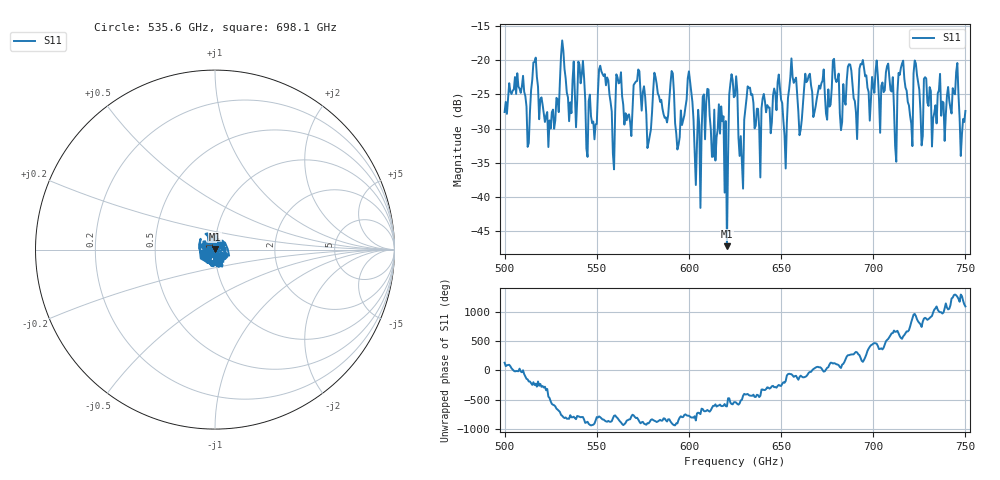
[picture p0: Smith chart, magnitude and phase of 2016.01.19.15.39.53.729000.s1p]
!Created with skrf (http://scikit-rf.org).
# GHz S RI R 50.0
!freq ReS11 ImS11
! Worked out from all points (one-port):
!   401 points, 500 GHz to 750 GHz, reference 50 ohm
!   lowest |S11| = -47.2 dB at 620.6 GHz (marker M1), VSWR 1.01, Z = 49.9 + j0.423 ohm
!   |S11| at or under -10 dB: start of sweep to end of sweep
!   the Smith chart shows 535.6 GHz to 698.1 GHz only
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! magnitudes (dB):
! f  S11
! 500 GHz  -27.6
! 513.1 GHz  -32.1
! 516.2 GHz  -20.3
! 525 GHz  -30.0
! 531.2 GHz  -17.1
! 548.8 GHz  -31.6
! 552.5 GHz  -21.6
! 558.8 GHz  -33.7
! 562.5 GHz  -23.3
! 572.5 GHz  -21.4
! 578.1 GHz  -32.0
! 590.6 GHz  -21.6
! 593.8 GHz  -33.1
! 600.6 GHz  -23.1
! 605 GHz  -27.3
! 609.4 GHz  -26.2
! 620.6 GHz  -47.2
! 625 GHz  -25.2
! 628.1 GHz  -31.1
! 632.5 GHz  -24.1
! 651.9 GHz  -31.0
! 656.2 GHz  -22.5
! 660.6 GHz  -30.2
! 687.5 GHz  -20.6
! 690.6 GHz  -27.6
! 693.8 GHz  -20.6
! 718.8 GHz  -26.1
! 750 GHz  -27.4
